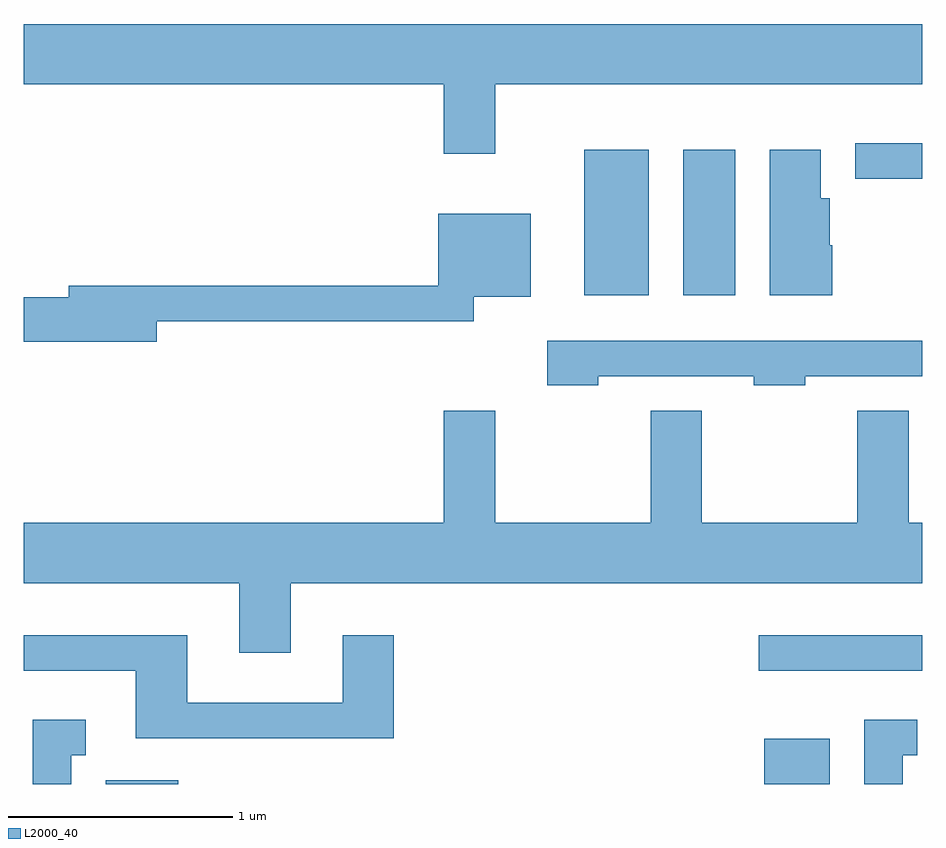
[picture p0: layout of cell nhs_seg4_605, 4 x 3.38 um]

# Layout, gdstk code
import gdstk
lib = gdstk.Library(unit=1e-6, precision=1e-09)
def R(c, l, rs):  # rectangles x0, y0, x1, y1
    for r in rs: c.add(gdstk.rectangle(r[:2], r[2:], *l))
def P(c, l, *ps):  # polygons
    for p in ps: c.add(gdstk.Polygon(p, *l))
L2000_40 = (2000, 40)

nhs_seg4_605 = lib.new_cell('nhs_seg4_605')
R(nhs_seg4_605, L2000_40, [(201.976,1375.982,202.299,1375.999), (204.906,1375.982,205.199,1376.184), (204.883,1376.486,205.611,1376.644), (204.106,1378.156,204.394,1378.804), (204.546,1378.156,204.779,1378.804), (205.313,1378.676,205.611,1378.834)])
P(nhs_seg4_605, L2000_40, [(203.709,1379.096),(205.611,1379.096),(205.611,1379.364),(201.611,1379.364),(201.611,1379.096),(203.481,1379.096),(203.481,1378.786),(203.709,1378.786)],
  [(205.209,1378.38),(205.199,1378.38),(205.199,1378.589),(205.159,1378.589),(205.159,1378.804),(204.931,1378.804),(204.931,1378.156),(205.209,1378.156)],
  [(202.204,1378.041),(203.614,1378.041),(203.614,1378.151),(203.869,1378.151),(203.869,1378.519),(203.456,1378.519),(203.456,1378.199),(201.811,1378.199),(201.811,1378.149),(201.611,1378.149),(201.611,1377.951),(202.204,1377.951)],
  [(204.169,1377.796),(204.861,1377.796),(204.861,1377.756),(205.089,1377.756),(205.089,1377.796),(205.611,1377.796),(205.611,1377.954),(203.941,1377.954),(203.941,1377.756),(204.169,1377.756)],
  [(202.799,1376.876),(205.611,1376.876),(205.611,1377.144),(205.549,1377.144),(205.549,1377.644),(205.321,1377.644),(205.321,1377.144),(204.629,1377.144),(204.629,1377.644),(204.401,1377.644),(204.401,1377.144),(203.709,1377.144),(203.709,1377.644),(203.481,1377.644),(203.481,1377.144),(201.611,1377.144),(201.611,1376.876),(202.571,1376.876),(202.571,1376.566),(202.799,1376.566)],
  [(203.259,1376.644),(203.031,1376.644),(203.031,1376.344),(202.339,1376.344),(202.339,1376.644),(201.611,1376.644),(201.611,1376.486),(202.111,1376.486),(202.111,1376.186),(203.259,1376.186)],
  [(201.824,1376.111),(201.888,1376.111),(201.888,1376.269),(201.651,1376.269),(201.651,1375.982),(201.824,1375.982)],
  [(205.524,1376.111),(205.588,1376.111),(205.588,1376.269),(205.351,1376.269),(205.351,1375.982),(205.524,1375.982)])

lib.write_gds('nhs_seg4_605.gds')
